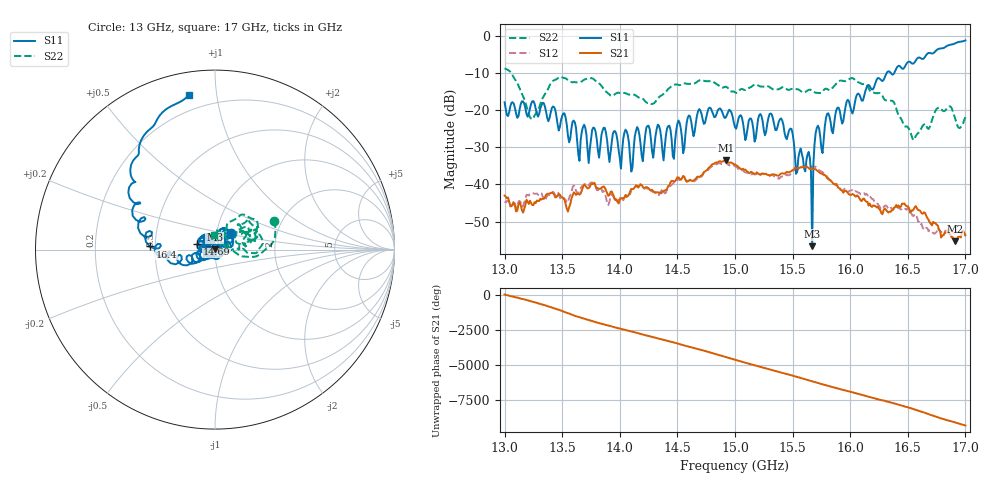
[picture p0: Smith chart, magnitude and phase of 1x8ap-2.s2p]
!Keysight Technologies,P9374A,MY57211807,A.19.30.04
!Date: Friday, May 08, 2026 15:38:52
!Correction: S11(C  2-Port  )
!S21(C  2-Port  )
!S12(C  2-Port  )
!S22(C  2-Port  )
!S2P File: Measurements: S11, S21, S12, S22:
# Hz S  dB  R 50
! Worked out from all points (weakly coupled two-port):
!   401 points, 13 GHz to 17 GHz, reference 50 ohm
!   highest |S21| = -33.48 dB at 14.92 GHz (marker M1); lowest = -55.3 dB at 16.91 GHz (marker M2)
!   lowest |S11| = -56.6 dB at 15.67 GHz (marker M3), VSWR 1.00, Z = 49.9 + j0.0871 ohm
!   |S11| at or under -10 dB: start of sweep to 16.32 GHz; 16.35345 GHz to 16.38166 GHz (28.2 MHz wide, 0.172 % of centre)
!   |S22| runs from -28.1 to -8.7 dB; largest |S21 - S12| = 0.0036
!   S11 on the Smith chart (normalised r, x): 13 GHz: 1.17, +0.22; 14.69 GHz: 0.82, +0.05; 16.4 GHz: 0.47, +0.02; 17 GHz: 0.12, +0.84
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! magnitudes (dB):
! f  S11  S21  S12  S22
! 13 GHz  -17.9  -43.0  -44.6  -8.7
! 13.24 GHz  -17.6  -45.5  -42.7  -22.5
! 13.42 GHz  -19.0  -42.4  -42.0  -12.1
! 13.67 GHz  -25.8  -41.6  -40.5  -12.2
! 14 GHz  -32.9  -44.1  -43.8  -15.4
! 14.05 GHz  -25.2  -42.8  -43.0  -15.4
! 14.1 GHz  -36.5  -41.2  -41.5  -15.7
! 14.15 GHz  -24.6  -40.4  -40.5  -16.2
! 14.34 GHz  -24.2  -42.3  -42.9  -16.5
! 14.47 GHz  -33.1  -39.2  -39.5  -13.2
! 14.69 GHz  -19.7  -38.0  -38.1  -12.0
! 14.92 GHz  -22.0  -33.5  -34.0  -13.7
! 15 GHz  -24.6  -34.6  -35.1  -15.1
! 15.4 GHz  -22.2  -37.1  -37.9  -14.0
! 15.67 GHz  -56.6  -35.6  -35.3  -14.7
! 15.71 GHz  -24.8  -36.2  -35.5  -15.3
! 15.8 GHz  -21.0  -38.3  -37.9  -14.3
! 16.34 GHz  -9.6  -47.3  -46.3  -17.4
! 16.4 GHz  -8.8  -45.5  -45.7  -19.5
! 16.55 GHz  -7.4  -46.7  -48.5  -28.1
! 16.91 GHz  -2.0  -55.3  -53.6  -22.3
! 17 GHz  -1.2  -53.7  -53.9  -21.9
